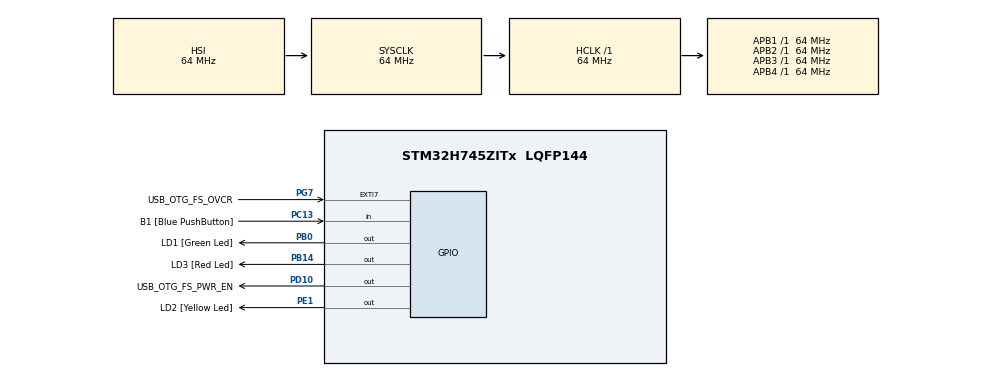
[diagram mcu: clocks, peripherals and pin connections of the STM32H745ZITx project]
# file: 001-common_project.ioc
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CortexM4.IPs=FATFS_M4\:I,FREERTOS_M4\:I,IWDG2\:I,RCC,WWDG2\:I,DMA,BDMA,MDMA,NVIC2\:I,USART3,ETH,DEBUG,PDM2PCM_M4\:I,PWR,RESMGR_UTILITY,SYS_M4\:I,USB_DEVICE_M4\:I,USB_HOST_M4\:I,CORTEX_M4\:I,GPIO,OPENAMP_M4\:I,VREFBUF
CortexM7.IPs=FATFS_M7\:I,FREERTOS_M7\:I,IWDG1\:I,RCC\:I,WWDG1\:I,DMA\:I,BDMA\:I,MDMA\:I,NVIC1\:I,SYS\:I,USART3\:I,USB_OTG_FS\:I,ETH\:I,CORTEX_M7\:I,DEBUG\:I,PDM2PCM_M7\:I,PWR\:I,RESMGR_UTILITY\:I,USB_DEVICE_M7\:I,USB_HOST_M7\:I,GPIO\:I,OPENAMP_M7\:I,VREFBUF\:I
CortexM7.Pins=PB0,PB14
Mcu.Family=STM32H7
Mcu.Name=STM32H745ZITx
Mcu.Package=LQFP144
NVIC1.PriorityGroup=NVIC_PRIORITYGROUP_4
NVIC2.PriorityGroup=NVIC_PRIORITYGROUP_4
PA1.PinAttribute=CortexM7
PA1.Signal=ETH_REF_CLK
PA11.PinAttribute=CortexM7
PA11.Signal=USB_OTG_FS_DM
PA12.PinAttribute=CortexM7
PA12.Signal=USB_OTG_FS_DP
PA2.PinAttribute=CortexM7
PA2.Signal=ETH_MDIO
PA7.PinAttribute=CortexM7
PA7.Signal=ETH_CRS_DV
PA8.PinAttribute=CortexM7
PA8.Signal=USB_OTG_FS_SOF
PA9.PinAttribute=CortexM7
PA9.Signal=USB_OTG_FS_VBUS
PB0.GPIO_Label=LD1 [Green Led]
PB0.PinAttribute=CortexM7
PB0.Signal=GPIO_Output
PB13.PinAttribute=CortexM7
PB13.Signal=ETH_TXD1
PB14.GPIO_Label=LD3 [Red Led]
PB14.PinAttribute=CortexM7
PB14.Signal=GPIO_Output
PC1.PinAttribute=CortexM7
PC1.Signal=ETH_MDC
PC13.GPIO_Label=B1 [Blue PushButton]
PC13.PinAttribute=Free
PC13.Signal=GPIO_Input
PC14-OSC32_IN\ (OSC32_IN).PinAttribute=CortexM7
PC14-OSC32_IN\ (OSC32_IN).Signal=RCC_OSC32_IN
PC15-OSC32_OUT\ (OSC32_OUT).PinAttribute=CortexM7
PC15-OSC32_OUT\ (OSC32_OUT).Signal=RCC_OSC32_OUT
PC4.PinAttribute=CortexM7
PC4.Signal=ETH_RXD0
PC5.PinAttribute=CortexM7
PC5.Signal=ETH_RXD1
PD10.GPIO_Label=USB_OTG_FS_PWR_EN
PD10.PinAttribute=Free
PD10.Signal=GPIO_Output
PD8.GPIO_Label=STLINK_RX
PD8.PinAttribute=CortexM7
PD8.Signal=USART3_TX
PD9.GPIO_Label=STLINK_TX
PD9.PinAttribute=CortexM7
PD9.Signal=USART3_RX
PE1.GPIO_Label=LD2 [Yellow Led]
PE1.PinAttribute=Free
PE1.Signal=GPIO_Output
PG11.PinAttribute=CortexM7
PG11.Signal=ETH_TX_EN
PG13.PinAttribute=CortexM7
PG13.Signal=ETH_TXD0
PG7.GPIO_Label=USB_OTG_FS_OVCR
PG7.PinAttribute=Free
PG7.Signal=GPXTI7
PH0-OSC_IN\ (PH0).PinAttribute=CortexM7
PH0-OSC_IN\ (PH0).Signal=RCC_OSC_IN
PH1-OSC_OUT\ (PH1).PinAttribute=CortexM7
PH1-OSC_OUT\ (PH1).Signal=RCC_OSC_OUT
ProjectManager.HeapSize=M4-0x200,M7-0x200
ProjectManager.StackSize=M4-0x400,M7-0x400
ProjectManager.TargetToolchain=STM32CubeIDE
RCC.ADCFreq_Value=129000000
RCC.APB1Freq_Value=64000000
RCC.APB2Freq_Value=64000000
RCC.APB3Freq_Value=64000000
RCC.APB4Freq_Value=64000000
RCC.CortexFreq_Value=64000000
RCC.DIVM1=18
RCC.DIVM3=22
RCC.DIVN3=169
RCC.DIVQ3=4
RCC.HCLKFreq_Value=64000000
RCC.PLL2FRACN=0
RCC.PLL3FRACN=0
RCC.PLLFRACN=0
RCC.SYSCLKFreq_VALUE=64000000
RCC.SupplySource=PWR_DIRECT_SMPS_SUPPLY
RCC.USBCLockSelection=RCC_USBCLKSOURCE_PLL3
RCC.USBFreq_Value=122909090.9090909
VP_SYS_M4_VS_Systick.Mode=SysTick
board=NUCLEO-H745ZI-Q

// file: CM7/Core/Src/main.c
/* USER CODE BEGIN Header */
/**
 ******************************************************************************
 * @file           : main.c
 * @brief          : Main program body
 ******************************************************************************
 * @attention
 *
 * Copyright (c) 2022 STMicroelectronics.
 * All rights reserved.
 *
 * This software is licensed under terms that can be found in the LICENSE file
 * in the root directory of this software component.
 * If no LICENSE file comes with this software, it is provided AS-IS.
 *
 ******************************************************************************
 */
/* USER CODE END Header */
#include "main.h"

/* USER CODE BEGIN Includes */
#include "stdio.h"
#include "FreeRTOS.h"
#include "task.h"
/* USER CODE END Includes */

/* USER CODE BEGIN PD */

#ifndef HSEM_ID_0
#define HSEM_ID_0 (0U) /* HW semaphore 0*/
#endif
/* USER CODE END PD */

/* USER CODE BEGIN PV */
#define DWT_CTRL (*(volatile uint32_t*)0xE0001000)

/* USER CODE END PV */

void SystemClock_Config(void);
static void MX_GPIO_Init(void);
/* USER CODE BEGIN PFP */
static void task1_handler(void* parameters);
static void task2_handler(void* parameters);
/* USER CODE END PFP */

int main(void)
{
    /* USER CODE BEGIN 1 */
    TaskHandle_t task1_handle;
    TaskHandle_t task2_handle;

    BaseType_t status;

    /* USER CODE END 1 */
    /* USER CODE BEGIN Boot_Mode_Sequence_0 */
    int32_t timeout;
    /* USER CODE END Boot_Mode_Sequence_0 */

    /* USER CODE BEGIN Boot_Mode_Sequence_1 */
    /* Wait until CPU2 boots and enters in stop mode or timeout*/

    /* USER CODE END Boot_Mode_Sequence_1 */
    /* MCU Configuration--------------------------------------------------------*/

    /* Reset of all peripherals, Initializes the Flash interface and the Systick. */
    HAL_Init();

    /* Configure the system clock */
    SystemClock_Config();
    /* USER CODE BEGIN Boot_Mode_Sequence_2 */
    /* When system initialization is finished, Cortex-M7 will release Cortex-M4 by means of
       HSEM notification */
    /*HW semaphore Clock enable*/
    __HAL_RCC_HSEM_CLK_ENABLE();
    /*Take HSEM */
    HAL_HSEM_FastTake(HSEM_ID_0);
    /*Release HSEM in order to notify the CPU2(CM4)*/
    HAL_HSEM_Release(HSEM_ID_0,0);
    /* wait until CPU2 wakes up from stop mode */
    timeout = 0xFFFF;
    while((__HAL_RCC_GET_FLAG(RCC_FLAG_D2CKRDY) == RESET) && (timeout-- > 0));
    if ( timeout < 0 )
    {
        Error_Handler();
    }
    /* USER CODE END Boot_Mode_Sequence_2 */

    /* Initialize all configured peripherals */
    MX_GPIO_Init();
    /* USER CODE BEGIN 2 */

    DWT_CTRL |= ( 1<<0 );

    SEGGER_SYSVIEW_Conf();
    SEGGER_SYSVIEW_Start();

    status = xTaskCreate(task1_handler, "Task--1", 200, NULL,2, &task1_handle);
    configASSERT(status == pdPASS);

    status = xTaskCreate(task2_handler, "Task--2", 200, NULL,2, &task2_handle);
    configASSERT(status == pdPASS);
    // start the freeRTOS scheduler
    vTaskStartScheduler();

    /* USER CODE END 2 */

    /* Infinite loop */
    while (1)
    {

    }
}

void SystemClock_Config(void)
{
    RCC_OscInitTypeDef RCC_OscInitStruct = {0};
    RCC_ClkInitTypeDef RCC_ClkInitStruct = {0};

    /** Supply configuration update enable
     */
    HAL_PWREx_ConfigSupply(PWR_DIRECT_SMPS_SUPPLY);

    /** Configure the main internal regulator output voltage
     */
    __HAL_PWR_VOLTAGESCALING_CONFIG(PWR_REGULATOR_VOLTAGE_SCALE3);

    while(!__HAL_PWR_GET_FLAG(PWR_FLAG_VOSRDY)) {}

    /** Initializes the RCC Oscillators according to the specified parameters
     * in the RCC_OscInitTypeDef structure.
     */
    RCC_OscInitStruct.OscillatorType = RCC_OSCILLATORTYPE_HSI;
    RCC_OscInitStruct.HSIState = RCC_HSI_DIV1;
    RCC_OscInitStruct.HSICalibrationValue = RCC_HSICALIBRATION_DEFAULT;
    RCC_OscInitStruct.PLL.PLLState = RCC_PLL_NONE;
    if (HAL_RCC_OscConfig(&RCC_OscInitStruct) != HAL_OK)
    {
        Error_Handler();
    }

    /** Initializes the CPU, AHB and APB buses clocks
     */
    RCC_ClkInitStruct.ClockType = RCC_CLOCKTYPE_HCLK|RCC_CLOCKTYPE_SYSCLK
        |RCC_CLOCKTYPE_PCLK1|RCC_CLOCKTYPE_PCLK2
        |RCC_CLOCKTYPE_D3PCLK1|RCC_CLOCKTYPE_D1PCLK1;
    RCC_ClkInitStruct.SYSCLKSource = RCC_SYSCLKSOURCE_HSI;
    RCC_ClkInitStruct.SYSCLKDivider = RCC_SYSCLK_DIV1;
    RCC_ClkInitStruct.AHBCLKDivider = RCC_HCLK_DIV1;
    RCC_ClkInitStruct.APB3CLKDivider = RCC_APB3_DIV1;
    RCC_ClkInitStruct.APB1CLKDivider = RCC_APB1_DIV1;
    RCC_ClkInitStruct.APB2CLKDivider = RCC_APB2_DIV1;
    RCC_ClkInitStruct.APB4CLKDivider = RCC_APB4_DIV1;

    if (HAL_RCC_ClockConfig(&RCC_ClkInitStruct, FLASH_LATENCY_1) != HAL_OK)
    {
        Error_Handler();
    }
}

static void MX_GPIO_Init(void)
{
    GPIO_InitTypeDef GPIO_InitStruct = {0};

    /* GPIO Ports Clock Enable */
    __HAL_RCC_GPIOC_CLK_ENABLE();
    __HAL_RCC_GPIOH_CLK_ENABLE();
    __HAL_RCC_GPIOA_CLK_ENABLE();
    __HAL_RCC_GPIOB_CLK_ENABLE();
    __HAL_RCC_GPIOD_CLK_ENABLE();
    __HAL_RCC_GPIOG_CLK_ENABLE();

    /*Configure GPIO pin Output Level */
    HAL_GPIO_WritePin(GPIOB, LD1_Pin|LD3_Pin, GPIO_PIN_RESET);

    /*Configure GPIO pins : PC1 PC4 PC5 */
    GPIO_InitStruct.Pin = GPIO_PIN_1|GPIO_PIN_4|GPIO_PIN_5;
    GPIO_InitStruct.Mode = GPIO_MODE_AF_PP;
    GPIO_InitStruct.Pull = GPIO_NOPULL;
    GPIO_InitStruct.Speed = GPIO_SPEED_FREQ_LOW;
    GPIO_InitStruct.Alternate = GPIO_AF11_ETH;
    HAL_GPIO_Init(GPIOC, &GPIO_InitStruct);

    /*Configure GPIO pins : PA1 PA2 PA7 */
    GPIO_InitStruct.Pin = GPIO_PIN_1|GPIO_PIN_2|GPIO_PIN_7;
    GPIO_InitStruct.Mode = GPIO_MODE_AF_PP;
    GPIO_InitStruct.Pull = GPIO_NOPULL;
    GPIO_InitStruct.Speed = GPIO_SPEED_FREQ_LOW;
    GPIO_InitStruct.Alternate = GPIO_AF11_ETH;
    HAL_GPIO_Init(GPIOA, &GPIO_InitStruct);

    /*Configure GPIO pins : LD1_Pin LD3_Pin */
    GPIO_InitStruct.Pin = LD1_Pin|LD3_Pin;
    GPIO_InitStruct.Mode = GPIO_MODE_OUTPUT_PP;
    GPIO_InitStruct.Pull = GPIO_NOPULL;
    GPIO_InitStruct.Speed = GPIO_SPEED_FREQ_LOW;
    HAL_GPIO_Init(GPIOB, &GPIO_InitStruct);

    /*Configure GPIO pin : PB13 */
    GPIO_InitStruct.Pin = GPIO_PIN_13;
    GPIO_InitStruct.Mode = GPIO_MODE_AF_PP;
    GPIO_InitStruct.Pull = GPIO_NOPULL;
    GPIO_InitStruct.Speed = GPIO_SPEED_FREQ_LOW;
    GPIO_InitStruct.Alternate = GPIO_AF11_ETH;
    HAL_GPIO_Init(GPIOB, &GPIO_InitStruct);

    /*Configure GPIO pins : PD8 PD9 */
    GPIO_InitStruct.Pin = GPIO_PIN_8|GPIO_PIN_9;
    GPIO_InitStruct.Mode = GPIO_MODE_AF_PP;
    GPIO_InitStruct.Pull = GPIO_NOPULL;
    GPIO_InitStruct.Speed = GPIO_SPEED_FREQ_LOW;
    GPIO_InitStruct.Alternate = GPIO_AF7_USART3;
    HAL_GPIO_Init(GPIOD, &GPIO_InitStruct);

    /*Configure GPIO pins : PA8 PA11 PA12 */
    GPIO_InitStruct.Pin = GPIO_PIN_8|GPIO_PIN_11|GPIO_PIN_12;
    GPIO_InitStruct.Mode = GPIO_MODE_AF_PP;
    GPIO_InitStruct.Pull = GPIO_NOPULL;
    GPIO_InitStruct.Speed = GPIO_SPEED_FREQ_LOW;
    GPIO_InitStruct.Alternate = GPIO_AF10_OTG1_FS;
    HAL_GPIO_Init(GPIOA, &GPIO_InitStruct);

    /*Configure GPIO pins : PG11 PG13 */
    GPIO_InitStruct.Pin = GPIO_PIN_11|GPIO_PIN_13;
    GPIO_InitStruct.Mode = GPIO_MODE_AF_PP;
    GPIO_InitStruct.Pull = GPIO_NOPULL;
    GPIO_InitStruct.Speed = GPIO_SPEED_FREQ_LOW;
    GPIO_InitStruct.Alternate = GPIO_AF11_ETH;
    HAL_GPIO_Init(GPIOG, &GPIO_InitStruct);

}

/* USER CODE BEGIN 4 */
static void task1_handler(void* parameters)
{
    TickType_t last_wakeup_time;
    last_wakeup_time = xTaskGetTickCount();
    while(1)
    {
        SEGGER_SYSVIEW_PrintfTarget("Toggling green led");
        HAL_GPIO_TogglePin(GPIOD, LED_GREEN_PIN);
        //HAL_Delay(1000);
        vTaskDelayUntil(&last_wakeup_time, pdMS_TO_TICKS(1000));
    }
}

static void task2_handler(void* parameters)
{
    TickType_t last_wakeup_time;
    last_wakeup_time = xTaskGetTickCount();
    while(1)
    {
        SEGGER_SYSVIEW_PrintfTarget("Toggling red led");
        HAL_GPIO_TogglePin(GPIOD, LED_RED_PIN);
        //HAL_Delay(500);
        vTaskDelayUntil(&last_wakeup_time, pdMS_TO_TICKS(500));
    }
}
/* USER CODE END 4 */

void Error_Handler(void)
{
    __disable_irq();
    while (1)
    {
    }
}
